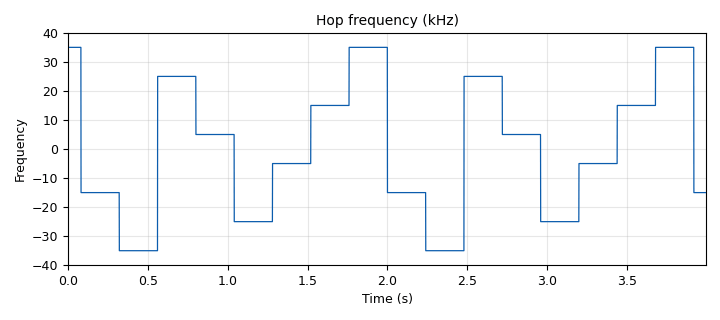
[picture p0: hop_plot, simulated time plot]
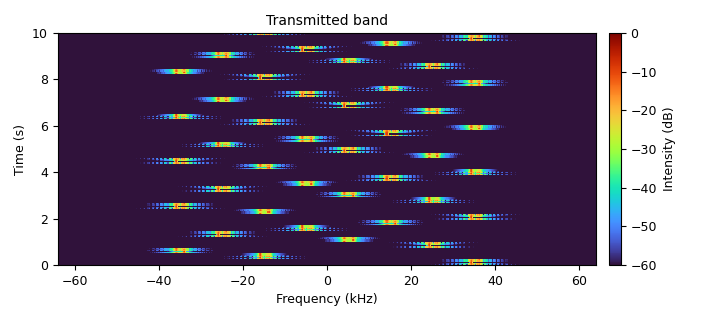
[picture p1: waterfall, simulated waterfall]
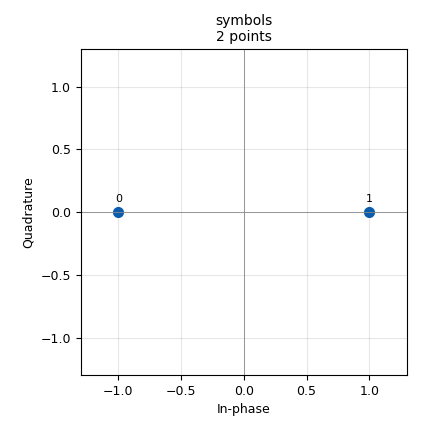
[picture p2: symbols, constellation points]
options:
  parameters:
    author: ECE 448
    description: 'L16: L8''s FSK packets, one per hop, hopped over 8 channels by a pseudo-random sequence. No hardware.'
    generate_options: qt_gui
    id: L16_fhss_tx
    output_language: python
    title: L16 - FHSS Transmitter
  states: {}

blocks:
- name: baud
  id: variable
  parameters:
    value: '1000'
  states: {}
- name: chan_f
  id: variable
  parameters:
    value: '[spacing*(k - (nch - 1)/2) for k in range(nch)]'
  states: {}
- name: dev
  id: variable
  parameters:
    value: '1000'
  states: {}
- name: dwell
  id: variable
  parameters:
    value: hop_bits*sps
  states: {}
- name: guard
  id: variable
  parameters:
    value: '2'
  states: {}
- name: hdr
  id: variable
  parameters:
    value: digital.header_format_default(digital.packet_utils.default_access_code, 0)
  states: {}
- name: hop_bits
  id: variable
  parameters:
    value: 8*(2*guard + 12 + len(msg) + 1)
  states: {}
- name: hop_f
  id: variable
  parameters:
    value: '[chan_f[c] for c in seq]'
  states: {}
- name: key
  id: variable_qtgui_range
  parameters:
    gui_hint: 0,0,1,2
    label: Hop key (seed)
    rangeType: int
    start: '0'
    step: '1'
    stop: '999'
    value: '448'
  states: {}
- name: msg
  id: variable
  parameters:
    value: '''USAFA ECE 448'''
  states: {}
- name: nch
  id: variable
  parameters:
    value: '8'
  states: {}
- name: samp_rate
  id: variable
  parameters:
    value: '128000'
  states: {}
- name: seq
  id: variable
  parameters:
    value: '[int(c) for c in np.random.default_rng(key).permutation(nch)]'
  states: {}
- name: seq_label
  id: variable_qtgui_label
  parameters:
    formatter: 'lambda x: '':  '' + x'
    gui_hint: 1,0,1,2
    label: Hop sequence (channels 0 to 7)
    type: string
    value: '''  ''.join(str(c) for c in seq)'
  states: {}
- name: spacing
  id: variable
  parameters:
    value: '10000'
  states: {}
- name: sps
  id: variable
  parameters:
    value: int(samp_rate/baud)
  states: {}
- name: fsk
  id: analog_frequency_modulator_fc
  parameters:
    sensitivity: 2*math.pi*dev/samp_rate
  states: {}
- name: guard_src
  id: blocks_vector_source_x
  parameters:
    repeat: 'True'
    type: byte
    vector: '[0x55]*guard'
  states: {}
- name: guard_tag
  id: blocks_stream_to_tagged_stream
  parameters:
    len_tag_key: '"packet_len"'
    packet_len: guard
    type: byte
  states: {}
- name: header
  id: digital_protocol_formatter_bb
  parameters:
    format: hdr
    len_tag_key: '"packet_len"'
  states: {}
- name: hop_frame
  id: blocks_tagged_stream_mux
  parameters:
    lengthtagname: '"packet_len"'
    ninputs: '4'
    type: byte
  states: {}
- name: hop_keep
  id: blocks_keep_one_in_n
  parameters:
    n: int(samp_rate/1000)
    type: float
  states: {}
- name: hop_plot
  id: qtgui_time_sink_x
  parameters:
    grid: 'True'
    gui_hint: 2,1,4,1
    legend: 'False'
    name: '"Hop frequency (kHz)"'
    size: '4000'
    srate: '1000'
    type: float
    update_time: '0.1'
    ylabel: '"Frequency"'
    ymax: '40'
    ymin: '-40'
    yunit: '"kHz"'
  states: {}
- name: hop_src
  id: blocks_vector_source_x
  parameters:
    repeat: 'True'
    type: float
    vector: hop_f
  states: {}
- name: hop_synth
  id: blocks_vco_c
  parameters:
    amplitude: '1'
    samp_rate: samp_rate
    sensitivity: 2*math.pi
  states: {}
- name: import_0
  id: import
  parameters:
    imports: |-
      import math
      import numpy as np
  states: {}
- name: msg_src
  id: blocks_vector_source_x
  parameters:
    repeat: 'True'
    type: byte
    vector: list(msg.encode()) + [10]
  states: {}
- name: msg_tag
  id: blocks_stream_to_tagged_stream
  parameters:
    len_tag_key: '"packet_len"'
    packet_len: len(msg) + 1
    type: byte
  states: {}
- name: repeat_bits
  id: blocks_repeat
  parameters:
    interp: sps
    type: float
  states: {}
- name: repeat_hop
  id: blocks_repeat
  parameters:
    interp: dwell
    type: float
  states: {}
- name: symbols
  id: digital_chunks_to_symbols_xx
  parameters:
    dimension: '1'
    in_type: byte
    out_type: float
    symbol_table: '[-1, 1]'
  states: {}
- name: throttle
  id: blocks_throttle2
  parameters:
    samples_per_second: samp_rate
    type: complex
  states: {}
- name: to_khz
  id: blocks_multiply_const_vxx
  parameters:
    const: 1/1000
    type: float
  states: {}
- name: tx_mixer
  id: blocks_multiply_xx
  parameters:
    type: complex
  states: {}
- name: unpack
  id: blocks_unpack_k_bits_bb
  parameters:
    k: '8'
  states: {}
- name: waterfall
  id: qtgui_waterfall_sink_x
  parameters:
    bw: samp_rate
    fc: '0'
    fftsize: '1024'
    gui_hint: 2,0,4,1
    int_max: '0'
    int_min: '-60'
    name: '"Transmitted band"'
    type: complex
    update_time: '0.05'
  states: {}

connections:
- [fsk, '0', tx_mixer, '0']
- [guard_src, '0', guard_tag, '0']
- [guard_tag, '0', hop_frame, '0']
- [guard_tag, '0', hop_frame, '3']
- [header, '0', hop_frame, '1']
- [hop_frame, '0', unpack, '0']
- [hop_keep, '0', to_khz, '0']
- [hop_src, '0', repeat_hop, '0']
- [hop_synth, '0', tx_mixer, '1']
- [msg_src, '0', msg_tag, '0']
- [msg_tag, '0', header, '0']
- [msg_tag, '0', hop_frame, '2']
- [repeat_bits, '0', fsk, '0']
- [repeat_hop, '0', hop_keep, '0']
- [repeat_hop, '0', hop_synth, '0']
- [symbols, '0', repeat_bits, '0']
- [throttle, '0', waterfall, '0']
- [to_khz, '0', hop_plot, '0']
- [tx_mixer, '0', throttle, '0']
- [unpack, '0', symbols, '0']

metadata:
  file_format: 1
  grc_version: 3.10.9.2
